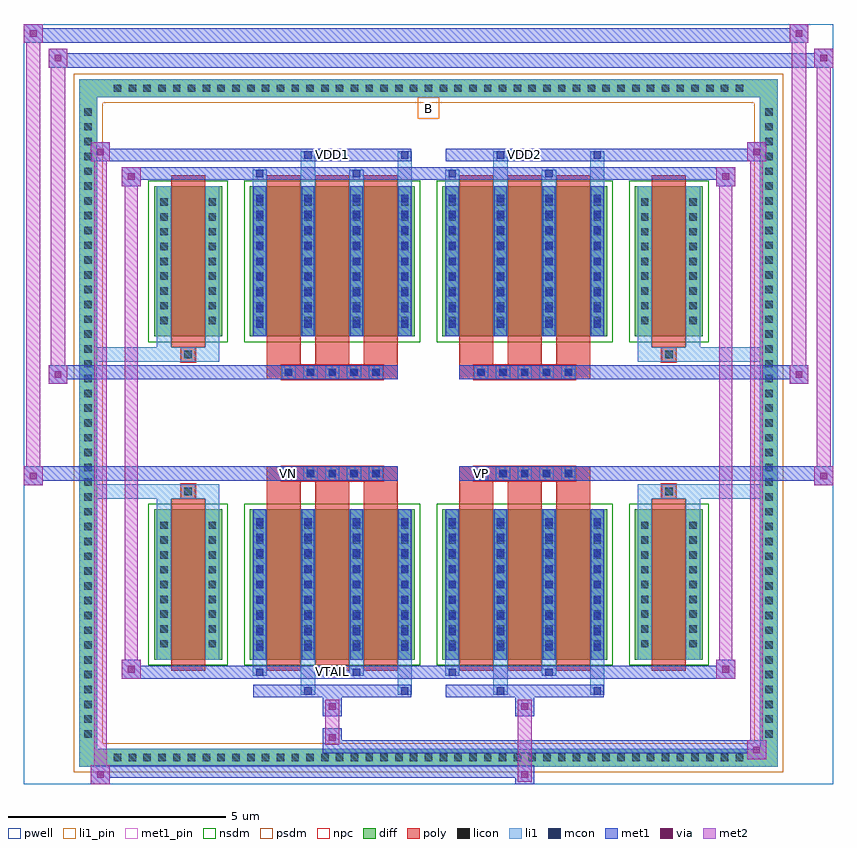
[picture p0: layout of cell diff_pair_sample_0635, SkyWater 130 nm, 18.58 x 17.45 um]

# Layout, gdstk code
import gdstk
lib = gdstk.Library(unit=1e-6, precision=5e-09)
def R(c, l, rs):  # rectangles x0, y0, x1, y1
    for r in rs: c.add(gdstk.rectangle(r[:2], r[2:], *l))
def A(c, l, x, y, w, h, nx, ny, dx, dy):  # array of equal rectangles
    R(c, l, [(x+i*dx, y+j*dy, x+i*dx+w, y+j*dy+h) for i in range(nx) for j in range(ny)])
def P(c, l, *ps):  # polygons
    for p in ps: c.add(gdstk.Polygon(p, *l))
pwell = (64, 44)
diff = (65, 20)
poly = (66, 20)
licon = (66, 44)
li1_pin = (67, 16)
li1 = (67, 20)
mcon = (67, 44)
met1_pin = (68, 16)
met1 = (68, 20)
via = (68, 44)
met2 = (69, 20)
nsdm = (93, 44)
psdm = (94, 20)
npc = (95, 20)

diff_pair_sample_0635 = lib.new_cell('diff_pair_sample_0635')
R(diff_pair_sample_0635, pwell, [(-9.29,-8.29,9.29,9.16), (-6.61,-6.48,-0.01,-0.8), (0.01,-6.48,6.61,-0.8), (-6.61,0.8,-0.01,6.48), (0.01,0.8,6.61,6.48)])
A(diff_pair_sample_0635, diff, -7.345, -7.89, 0.41, 0.41, 43, 2, 0.34, 15.37)
A(diff_pair_sample_0635, diff, -8.02, -7.345, 0.41, 0.41, 1, 43, 0, 0.34)
A(diff_pair_sample_0635, diff, 7.61, -7.345, 0.41, 0.41, 1, 43, 0, 0.34)
R(diff_pair_sample_0635, diff, [(-7.345,-7.89,7.345,-7.48), (-8.02,-7.345,-7.61,7.345), (7.61,-7.345,8.02,7.345), (-6.3,-5.435,-4.74,-1.985), (-4.1,-5.435,-0.32,-1.985), (0.32,-5.435,4.1,-1.985), (4.74,-5.435,6.3,-1.985), (-6.3,1.985,-4.74,5.435), (-4.1,1.985,-0.32,5.435), (0.32,1.985,4.1,5.435), (4.74,1.985,6.3,5.435), (-7.345,7.48,7.345,7.89)])
P(diff_pair_sample_0635, diff, [(8.02,7.89),(-8.02,7.89),(-8.02,-7.48),(-7.61,-7.48),(-7.61,7.48),(7.61,7.48),(7.61,-7.48),(-7.61,-7.48),(-8.02,-7.48),(-8.02,-7.89),(8.02,-7.89)])
A(diff_pair_sample_0635, poly, -3.71, -5.685, 0.78, 3.95, 3, 2, 1.11, 7.42)
A(diff_pair_sample_0635, poly, 0.71, -5.685, 0.78, 3.95, 3, 2, 1.11, 7.42)
A(diff_pair_sample_0635, poly, -3.71, -1.735, 0.78, 0.405, 3, 2, 1.11, 3.065)
A(diff_pair_sample_0635, poly, 0.71, -1.735, 0.78, 0.405, 3, 2, 1.11, 3.065)
A(diff_pair_sample_0635, poly, -3.375, -1.33, 0.33, 0.33, 5, 2, 0.5, 2.33)
A(diff_pair_sample_0635, poly, 1.045, -1.33, 0.33, 0.33, 5, 2, 0.5, 2.33)
R(diff_pair_sample_0635, poly, [(-5.91,-5.685,-5.13,-1.735), (5.13,-5.685,5.91,-1.735), (-5.685,-1.735,-5.355,-1.405), (-5.685,-1.735,-5.355,-1.405), (5.355,-1.735,5.685,-1.405), (5.355,-1.735,5.685,-1.405), (-3.71,-1.33,-0.71,-1), (0.71,-1.33,3.71,-1), (-3.71,1,-0.71,1.33), (0.71,1,3.71,1.33), (-5.685,1.405,-5.355,1.735), (-5.685,1.405,-5.355,1.735), (5.355,1.405,5.685,1.735), (5.355,1.405,5.685,1.735), (-5.91,1.735,-5.13,5.685), (5.13,1.735,5.91,5.685)])
A(diff_pair_sample_0635, licon, -7.225, -7.77, 0.17, 0.17, 43, 2, 0.34, 15.37)
A(diff_pair_sample_0635, licon, -7.9, -7.225, 0.17, 0.17, 1, 43, 0, 0.34)
A(diff_pair_sample_0635, licon, 7.73, -7.225, 0.17, 0.17, 1, 43, 0, 0.34)
A(diff_pair_sample_0635, licon, -6.16, -5.155, 0.17, 0.17, 1, 9, 0, 0.34)
A(diff_pair_sample_0635, licon, -5.05, -5.155, 0.17, 0.17, 1, 9, 0, 0.34)
A(diff_pair_sample_0635, licon, -3.96, -5.155, 0.17, 0.17, 4, 9, 1.11, 0.34)
A(diff_pair_sample_0635, licon, 0.46, -5.155, 0.17, 0.17, 4, 9, 1.11, 0.34)
A(diff_pair_sample_0635, licon, 4.88, -5.155, 0.17, 0.17, 1, 9, 0, 0.34)
A(diff_pair_sample_0635, licon, 5.99, -5.155, 0.17, 0.17, 1, 9, 0, 0.34)
A(diff_pair_sample_0635, licon, -3.295, -1.25, 0.17, 0.17, 5, 2, 0.5, 2.33)
A(diff_pair_sample_0635, licon, 1.125, -1.25, 0.17, 0.17, 5, 2, 0.5, 2.33)
A(diff_pair_sample_0635, licon, -6.16, 2.265, 0.17, 0.17, 1, 9, 0, 0.34)
A(diff_pair_sample_0635, licon, -5.05, 2.265, 0.17, 0.17, 1, 9, 0, 0.34)
A(diff_pair_sample_0635, licon, -3.96, 2.265, 0.17, 0.17, 4, 9, 1.11, 0.34)
A(diff_pair_sample_0635, licon, 0.46, 2.265, 0.17, 0.17, 4, 9, 1.11, 0.34)
A(diff_pair_sample_0635, licon, 4.88, 2.265, 0.17, 0.17, 1, 9, 0, 0.34)
A(diff_pair_sample_0635, licon, 5.99, 2.265, 0.17, 0.17, 1, 9, 0, 0.34)
R(diff_pair_sample_0635, licon, [(-5.605,-1.655,-5.435,-1.485), (5.435,-1.655,5.605,-1.485), (-5.605,1.485,-5.435,1.655), (5.435,1.485,5.605,1.655)])
R(diff_pair_sample_0635, li1_pin, [(-0.25,6.98,0.25,7.48)])
A(diff_pair_sample_0635, li1, -7.305, -7.85, 0.33, 0.33, 43, 2, 0.34, 15.37)
A(diff_pair_sample_0635, li1, -7.98, -7.305, 0.33, 0.33, 1, 43, 0, 0.34)
A(diff_pair_sample_0635, li1, 7.65, -7.305, 0.33, 0.33, 1, 43, 0, 0.34)
A(diff_pair_sample_0635, li1, -4.04, -5.435, 0.33, 3.45, 4, 2, 1.11, 7.42)
A(diff_pair_sample_0635, li1, 0.38, -5.435, 0.33, 3.45, 4, 2, 1.11, 7.42)
A(diff_pair_sample_0635, li1, -6.24, -5.235, 0.33, 0.33, 1, 9, 0, 0.34)
A(diff_pair_sample_0635, li1, -5.13, -5.235, 0.33, 0.33, 1, 9, 0, 0.34)
A(diff_pair_sample_0635, li1, -4.04, -5.235, 0.33, 0.33, 4, 9, 1.11, 0.34)
A(diff_pair_sample_0635, li1, -3.96, -5.235, 0.17, 0.17, 4, 9, 1.11, 0.36)
A(diff_pair_sample_0635, li1, -3.96, -5.235, 0.17, 3.05, 4, 2, 1.11, 7.42)
A(diff_pair_sample_0635, li1, 0.38, -5.235, 0.33, 0.33, 4, 9, 1.11, 0.34)
A(diff_pair_sample_0635, li1, 0.46, -5.235, 0.17, 0.17, 4, 9, 1.11, 0.36)
A(diff_pair_sample_0635, li1, 0.46, -5.235, 0.17, 3.05, 4, 2, 1.11, 7.42)
A(diff_pair_sample_0635, li1, 4.8, -5.235, 0.33, 0.33, 1, 9, 0, 0.34)
A(diff_pair_sample_0635, li1, 5.91, -5.235, 0.33, 0.33, 1, 9, 0, 0.34)
A(diff_pair_sample_0635, li1, -3.375, -1.33, 0.33, 0.33, 5, 2, 0.5, 2.33)
A(diff_pair_sample_0635, li1, 1.045, -1.33, 0.33, 0.33, 5, 2, 0.5, 2.33)
A(diff_pair_sample_0635, li1, -6.24, 2.185, 0.33, 0.33, 1, 9, 0, 0.34)
A(diff_pair_sample_0635, li1, -5.13, 2.185, 0.33, 0.33, 1, 9, 0, 0.34)
A(diff_pair_sample_0635, li1, -4.04, 2.185, 0.33, 0.33, 4, 9, 1.11, 0.34)
A(diff_pair_sample_0635, li1, -3.96, 2.185, 0.17, 0.17, 4, 9, 1.11, 0.36)
A(diff_pair_sample_0635, li1, 0.38, 2.185, 0.33, 0.33, 4, 9, 1.11, 0.34)
A(diff_pair_sample_0635, li1, 0.46, 2.185, 0.17, 0.17, 4, 9, 1.11, 0.36)
A(diff_pair_sample_0635, li1, 4.8, 2.185, 0.33, 0.33, 1, 9, 0, 0.34)
A(diff_pair_sample_0635, li1, 5.91, 2.185, 0.33, 0.33, 1, 9, 0, 0.34)
R(diff_pair_sample_0635, li1, [(-8.02,-7.89,-7.61,-7.48), (-8.02,-7.89,-7.61,-7.48), (-7.61,-7.89,7.61,-7.48), (7.61,-7.89,8.02,-7.48), (7.61,-7.89,8.02,-7.48), (-8.02,-7.48,-7.61,7.48), (7.61,-7.48,8.02,7.48), (-2.93,-6.24,-2.6,-5.435), (-2.85,-6.24,-2.68,-6.07), (-0.71,-6.24,-0.38,-5.435), (-0.63,-6.24,-0.46,-6.07), (1.49,-6.24,1.82,-5.435), (1.57,-6.24,1.74,-6.07), (3.71,-6.24,4.04,-5.435), (3.79,-6.24,3.96,-6.07), (-4.04,-5.81,-3.71,-5.435), (-3.96,-5.81,-3.79,-5.64), (-1.82,-5.81,-1.49,-5.435), (-1.74,-5.81,-1.57,-5.64), (0.38,-5.81,0.71,-5.435), (0.46,-5.81,0.63,-5.64), (2.6,-5.81,2.93,-5.435), (2.68,-5.81,2.85,-5.64), (-6.24,-5.435,-5.91,-1.985), (-5.13,-5.435,-4.8,-1.985), (4.8,-5.435,5.13,-1.985), (5.91,-5.435,6.24,-1.985), (-6.24,-1.985,-5.91,-1.405), (-5.13,-1.985,-4.8,-1.405), (4.8,-1.985,5.13,-1.405), (5.91,-1.985,6.24,-1.405), (-8.02,-1.735,-5.685,-1.405), (-6.24,-1.735,-5.685,-1.405), (-5.685,-1.735,-5.355,-1.405), (-5.355,-1.735,-4.8,-1.405), (4.8,-1.735,5.355,-1.405), (5.355,-1.735,5.685,-1.405), (5.355,-1.735,8.02,-1.405), (5.685,-1.735,6.24,-1.405), (-8.02,1.405,-5.685,1.735), (-6.24,1.405,-5.685,1.735), (-6.24,1.405,-5.91,1.985), (-5.685,1.405,-5.355,1.735), (-5.355,1.405,-4.8,1.735), (-5.13,1.405,-4.8,1.985), (4.8,1.405,5.355,1.735), (4.8,1.405,5.13,1.985), (5.355,1.405,5.685,1.735), (5.355,1.405,8.02,1.735), (5.685,1.405,6.24,1.735), (5.91,1.405,6.24,1.985), (-6.24,1.985,-5.91,5.435), (-5.13,1.985,-4.8,5.435), (4.8,1.985,5.13,5.435), (5.91,1.985,6.24,5.435), (-4.04,5.435,-3.71,5.81), (-2.93,5.435,-2.6,6.24), (-1.82,5.435,-1.49,5.81), (-0.71,5.435,-0.38,6.24), (0.38,5.435,0.71,5.81), (1.49,5.435,1.82,6.24), (2.6,5.435,2.93,5.81), (3.71,5.435,4.04,6.24), (-3.96,5.64,-3.79,5.81), (-1.74,5.64,-1.57,5.81), (0.46,5.64,0.63,5.81), (2.68,5.64,2.85,5.81), (-2.85,6.07,-2.68,6.24), (-0.63,6.07,-0.46,6.24), (1.57,6.07,1.74,6.24), (3.79,6.07,3.96,6.24), (-8.02,7.48,-7.61,7.89), (-8.02,7.48,-7.61,7.89), (-7.61,7.48,7.61,7.89), (7.61,7.48,8.02,7.89), (7.61,7.48,8.02,7.89)])
A(diff_pair_sample_0635, mcon, -3.96, -5.235, 0.17, 0.17, 4, 9, 1.11, 0.36)
A(diff_pair_sample_0635, mcon, 0.46, -5.235, 0.17, 0.17, 4, 9, 1.11, 0.36)
A(diff_pair_sample_0635, mcon, -3.295, -1.25, 0.17, 0.17, 5, 2, 0.5, 2.33)
A(diff_pair_sample_0635, mcon, 1.125, -1.25, 0.17, 0.17, 5, 2, 0.5, 2.33)
A(diff_pair_sample_0635, mcon, -3.96, 2.185, 0.17, 0.17, 4, 9, 1.11, 0.36)
A(diff_pair_sample_0635, mcon, 0.46, 2.185, 0.17, 0.17, 4, 9, 1.11, 0.36)
R(diff_pair_sample_0635, mcon, [(-2.85,-6.24,-2.68,-6.07), (-0.63,-6.24,-0.46,-6.07), (1.57,-6.24,1.74,-6.07), (3.79,-6.24,3.96,-6.07), (-3.96,-5.81,-3.79,-5.64), (-1.74,-5.81,-1.57,-5.64), (0.46,-5.81,0.63,-5.64), (2.68,-5.81,2.85,-5.64), (-3.96,5.64,-3.79,5.81), (-1.74,5.64,-1.57,5.81), (0.46,5.64,0.63,5.81), (2.68,5.64,2.85,5.81), (-2.85,6.07,-2.68,6.24), (-0.63,6.07,-0.46,6.24), (1.57,6.07,1.74,6.24), (3.79,6.07,3.96,6.24)])
R(diff_pair_sample_0635, met1_pin, [(-2.345,-5.85,-2.075,-5.58), (-3.345,-1.29,-3.075,-1.02), (1.075,-1.29,1.345,-1.02), (-2.345,6.03,-2.075,6.3), (2.075,6.03,2.345,6.3)])
A(diff_pair_sample_0635, met1, -4.02, -5.435, 0.29, 3.45, 4, 2, 1.11, 7.42)
A(diff_pair_sample_0635, met1, 0.4, -5.435, 0.29, 3.45, 4, 2, 1.11, 7.42)
A(diff_pair_sample_0635, met1, -4.02, -5.295, 0.29, 0.29, 4, 9, 1.11, 0.36)
A(diff_pair_sample_0635, met1, 0.4, -5.295, 0.29, 0.29, 4, 9, 1.11, 0.36)
A(diff_pair_sample_0635, met1, -3.355, -1.31, 0.29, 0.29, 5, 2, 0.5, 2.33)
A(diff_pair_sample_0635, met1, 1.065, -1.31, 0.29, 0.29, 5, 2, 0.5, 2.33)
A(diff_pair_sample_0635, met1, -4.02, 2.125, 0.29, 0.29, 4, 9, 1.11, 0.36)
A(diff_pair_sample_0635, met1, 0.4, 2.125, 0.29, 0.29, 4, 9, 1.11, 0.36)
R(diff_pair_sample_0635, met1, [(-7.75,-8.29,-7.32,-7.86), (1.995,-8.29,2.425,-7.86), (-7.75,-8.15,2.425,-7.86), (7.32,-7.72,7.75,-7.29), (-2.425,-7.58,7.75,-7.29), (-2.425,-7.44,-1.995,-7.01), (-2.425,-6.73,-1.995,-6.3), (1.995,-6.73,2.425,-6.3), (-4.02,-6.3,-0.4,-6.01), (-2.91,-6.3,-2.62,-6.01), (-0.69,-6.3,-0.4,-6.01), (0.4,-6.3,4.02,-6.01), (1.51,-6.3,1.8,-6.01), (3.73,-6.3,4.02,-6.01), (-7.04,-5.87,-6.61,-5.44), (-7.04,-5.87,-4.02,-5.58), (-4.02,-5.87,-3.73,-5.58), (-4.02,-5.87,-0.4,-5.58), (-1.8,-5.87,-1.51,-5.58), (-0.4,-5.87,0.4,-5.58), (0.4,-5.87,0.69,-5.58), (0.4,-5.87,4.02,-5.58), (2.62,-5.87,2.91,-5.58), (4.02,-5.87,7.04,-5.58), (6.61,-5.87,7.04,-5.44), (-9.29,-1.43,-8.86,-1), (8.86,-1.43,9.29,-1), (-9.29,-1.33,-0.71,-1), (-3.71,-1.33,-0.71,-1), (0.71,-1.33,3.71,-1), (0.71,-1.33,9.29,-1), (-8.72,0.9,-8.29,1.33), (8.29,0.9,8.72,1.33), (-8.72,1,-3.71,1.33), (-3.71,1,-0.71,1.33), (0.71,1,3.71,1.33), (3.71,1,8.72,1.33), (-7.04,5.44,-6.61,5.87), (6.61,5.44,7.04,5.87), (-7.04,5.58,-4.02,5.87), (-4.02,5.58,-3.73,5.87), (-4.02,5.58,-0.4,5.87), (-1.8,5.58,-1.51,5.87), (-0.4,5.58,0.4,5.87), (0.4,5.58,0.69,5.87), (0.4,5.58,4.02,5.87), (2.62,5.58,2.91,5.87), (4.02,5.58,7.04,5.87), (-7.75,6.01,-7.32,6.44), (-7.75,6.01,-4.02,6.3), (-4.02,6.01,-0.4,6.3), (-2.91,6.01,-2.62,6.3), (-0.69,6.01,-0.4,6.3), (0.4,6.01,4.02,6.3), (1.51,6.01,1.8,6.3), (3.73,6.01,4.02,6.3), (4.02,6.01,7.75,6.3), (7.32,6.01,7.75,6.44), (-8.72,8.16,-8.29,8.59), (-8.72,8.16,-6.61,8.49), (-6.61,8.16,6.61,8.49), (6.61,8.16,9.29,8.49), (8.86,8.16,9.29,8.59), (-9.29,8.73,-8.86,9.16), (-9.29,8.73,-6.61,9.06), (-6.61,8.73,6.61,9.06), (6.61,8.73,8.72,9.06), (8.29,8.73,8.72,9.16)])
R(diff_pair_sample_0635, via, [(-7.61,-8.15,-7.46,-8), (2.135,-8.15,2.285,-8), (7.46,-7.58,7.61,-7.43), (-2.285,-7.3,-2.135,-7.15), (-2.285,-6.59,-2.135,-6.44), (2.135,-6.59,2.285,-6.44), (-6.9,-5.73,-6.75,-5.58), (6.75,-5.73,6.9,-5.58), (-9.15,-1.29,-9,-1.14), (9,-1.29,9.15,-1.14), (-8.58,1.04,-8.43,1.19), (8.43,1.04,8.58,1.19), (-6.9,5.58,-6.75,5.73), (6.75,5.58,6.9,5.73), (-7.61,6.15,-7.46,6.3), (7.46,6.15,7.61,6.3), (-8.58,8.3,-8.43,8.45), (9,8.3,9.15,8.45), (-9.15,8.87,-9,9.02), (8.43,8.87,8.58,9.02)])
R(diff_pair_sample_0635, met2, [(-7.75,-8.29,-7.32,-7.86), (-7.68,-8.29,-7.39,6.44), (-7.39,-8.29,-7.32,-7.86), (-7.7,-8.24,-7.37,-7.91), (2.045,-8.24,2.375,-7.91), (2.045,-7.91,2.375,-6.68), (7.32,-7.72,7.75,-7.29), (7.39,-7.72,7.68,6.44), (7.68,-7.72,7.75,-7.29), (7.37,-7.67,7.7,-7.34), (-2.375,-7.39,-2.045,-7.06), (-2.375,-7.06,-2.045,-6.68), (-2.375,-6.68,-2.045,-6.35), (2.045,-6.68,2.375,-6.35), (-7.04,-5.87,-6.61,-5.44), (-6.97,-5.87,-6.68,5.87), (-6.68,-5.87,-6.61,-5.44), (6.61,-5.87,7.04,-5.44), (6.68,-5.87,6.97,5.87), (6.97,-5.87,7.04,-5.44), (-6.99,-5.82,-6.66,-5.49), (6.66,-5.82,6.99,-5.49), (-9.29,-1.43,-8.86,-1), (-9.24,-1.43,-8.91,9.16), (-8.91,-1.43,-8.86,-1), (8.86,-1.43,9.29,-1), (8.91,-1.43,9.24,8.59), (9.24,-1.43,9.29,-1), (-9.24,-1.38,-8.91,-1.05), (8.91,-1.38,9.24,-1.05), (-8.72,0.9,-8.29,1.33), (-8.67,0.9,-8.34,8.59), (-8.34,0.9,-8.29,1.33), (8.29,0.9,8.72,1.33), (8.34,0.9,8.67,9.16), (8.67,0.9,8.72,1.33), (-8.67,0.95,-8.34,1.28), (8.34,0.95,8.67,1.28), (-7.04,5.44,-6.61,5.87), (-6.68,5.44,-6.61,5.87), (6.61,5.44,7.04,5.87), (6.97,5.44,7.04,5.87), (-6.99,5.49,-6.66,5.82), (6.66,5.49,6.99,5.82), (-7.75,6.01,-7.32,6.44), (-7.39,6.01,-7.32,6.44), (7.32,6.01,7.75,6.44), (7.68,6.01,7.75,6.44), (-7.7,6.06,-7.37,6.39), (7.37,6.06,7.7,6.39), (-8.72,8.16,-8.29,8.59), (-8.34,8.16,-8.29,8.59), (8.86,8.16,9.29,8.59), (9.24,8.16,9.29,8.59), (-8.67,8.21,-8.34,8.54), (8.91,8.21,9.24,8.54), (-9.29,8.73,-8.86,9.16), (-8.91,8.73,-8.86,9.16), (8.29,8.73,8.72,9.16), (8.67,8.73,8.72,9.16), (-9.24,8.78,-8.91,9.11), (8.34,8.78,8.67,9.11)])
R(diff_pair_sample_0635, nsdm, [(-6.43,-5.565,-4.61,-1.855), (-4.23,-5.565,-0.19,-1.855), (0.19,-5.565,4.23,-1.855), (4.61,-5.565,6.43,-1.855), (-6.43,1.855,-4.61,5.565), (-4.23,1.855,-0.19,5.565), (0.19,1.855,4.23,5.565), (4.61,1.855,6.43,5.565)])
P(diff_pair_sample_0635, psdm, [(8.15,8.02),(-8.15,8.02),(-8.15,-7.35),(-7.48,-7.35),(-7.48,7.35),(7.48,7.35),(7.48,-7.35),(-7.48,-7.35),(-8.15,-7.35),(-8.15,-8.02),(8.15,-8.02)])
A(diff_pair_sample_0635, npc, -3.395, -1.35, 0.37, 0.37, 5, 2, 0.5, 2.33)
A(diff_pair_sample_0635, npc, 1.025, -1.35, 0.37, 0.37, 5, 2, 0.5, 2.33)
R(diff_pair_sample_0635, npc, [(-5.705,-1.755,-5.335,-1.385), (5.335,-1.755,5.705,-1.385), (-3.395,-1.35,-2.525,-0.98), (-3.395,-1.35,-2.525,-0.98), (-2.895,-1.35,-2.025,-0.98), (-2.895,-1.35,-2.025,-0.98), (-2.395,-1.35,-1.525,-0.98), (-2.395,-1.35,-1.525,-0.98), (-1.895,-1.35,-1.025,-0.98), (-1.895,-1.35,-1.025,-0.98), (1.025,-1.35,1.895,-0.98), (1.025,-1.35,1.895,-0.98), (1.525,-1.35,2.395,-0.98), (1.525,-1.35,2.395,-0.98), (2.025,-1.35,2.895,-0.98), (2.025,-1.35,2.895,-0.98), (2.525,-1.35,3.395,-0.98), (2.525,-1.35,3.395,-0.98), (-3.395,0.98,-2.525,1.35), (-3.395,0.98,-2.525,1.35), (-2.895,0.98,-2.025,1.35), (-2.895,0.98,-2.025,1.35), (-2.395,0.98,-1.525,1.35), (-2.395,0.98,-1.525,1.35), (-1.895,0.98,-1.025,1.35), (-1.895,0.98,-1.025,1.35), (1.025,0.98,1.895,1.35), (1.025,0.98,1.895,1.35), (1.525,0.98,2.395,1.35), (1.525,0.98,2.395,1.35), (2.025,0.98,2.895,1.35), (2.025,0.98,2.895,1.35), (2.525,0.98,3.395,1.35), (2.525,0.98,3.395,1.35), (-5.705,1.385,-5.335,1.755), (5.335,1.385,5.705,1.755)])
diff_pair_sample_0635.add(gdstk.Label('VTAIL', (-2.21,-5.715), layer=68, texttype=5))
diff_pair_sample_0635.add(gdstk.Label('VN', (-3.21,-1.155), layer=68, texttype=5))
diff_pair_sample_0635.add(gdstk.Label('VP', (1.21,-1.155), layer=68, texttype=5))
diff_pair_sample_0635.add(gdstk.Label('B', (0,7.23), layer=67, texttype=5))
diff_pair_sample_0635.add(gdstk.Label('VDD2', (2.21,6.165), layer=68, texttype=5))
diff_pair_sample_0635.add(gdstk.Label('VDD1', (-2.21,6.165), layer=68, texttype=5))

lib.write_gds('diff_pair_sample_0635.gds')
